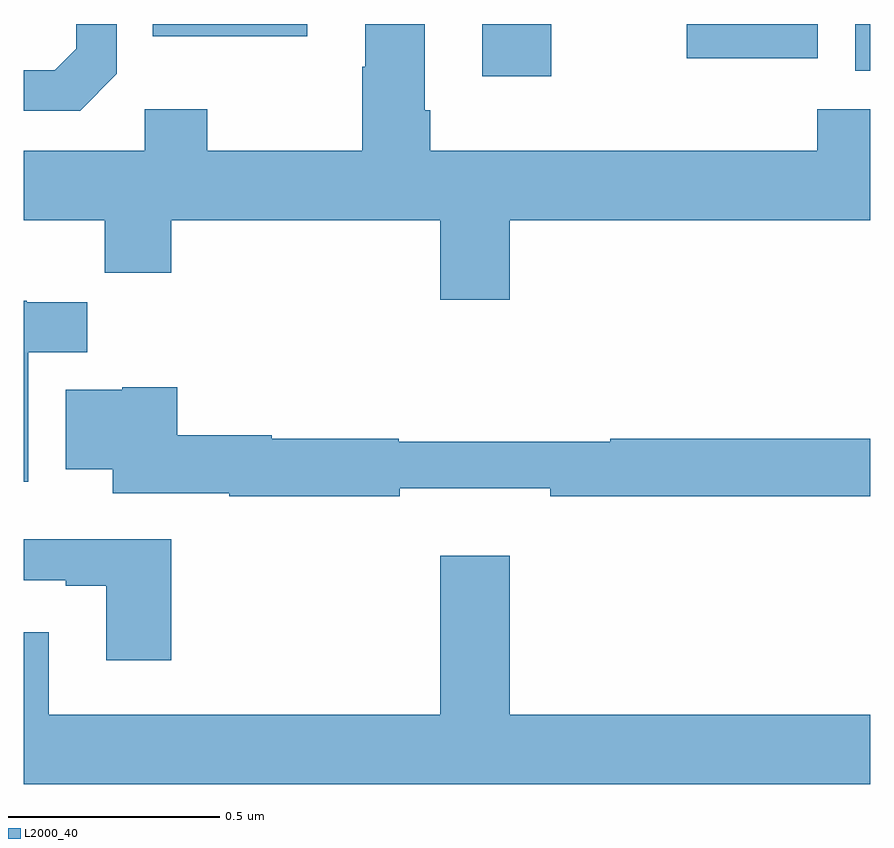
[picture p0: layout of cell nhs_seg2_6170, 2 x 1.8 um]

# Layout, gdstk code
import gdstk
lib = gdstk.Library(unit=1e-6, precision=1e-09)
def R(c, l, rs):  # rectangles x0, y0, x1, y1
    for r in rs: c.add(gdstk.rectangle(r[:2], r[2:], *l))
def P(c, l, *ps):  # polygons
    for p in ps: c.add(gdstk.Polygon(p, *l))
L2000_40 = (2000, 40)

nhs_seg2_6170 = lib.new_cell('nhs_seg2_6170')
R(nhs_seg2_6170, L2000_40, [(189.083,614.676,189.246,614.8), (189.965,614.69,190,614.8), (189.567,614.719,189.876,614.8), (188.305,614.771,188.67,614.8)])
P(nhs_seg2_6170, L2000_40, [(188.286,614.5),(188,614.5),(188,614.336),(188.191,614.336),(188.191,614.212),(188.348,614.212),(188.348,614.336),(188.984,614.336),(188.984,614.148),(189.148,614.148),(189.148,614.336),(190,614.336),(190,614.599),(189.875,614.599),(189.875,614.5),(188.96,614.5),(188.96,614.596),(188.947,614.596),(188.947,614.8),(188.807,614.8),(188.807,614.699),(188.8,614.699),(188.8,614.5),(188.433,614.5),(188.433,614.599),(188.286,614.599)],
  [(188.22,614.682),(188.22,614.8),(188.124,614.8),(188.124,614.742),(188.073,614.691),(188,614.691),(188,614.595),(188.133,614.595)],
  [(188.011,614.024),(188.15,614.024),(188.15,614.142),(188.007,614.142),(188.007,614.146),(188,614.146),(188,613.718),(188.011,613.718)],
  [(188.888,613.703),(189.244,613.703),(189.244,613.684),(190,613.684),(190,613.82),(189.386,613.82),(189.386,613.813),(188.886,613.813),(188.886,613.82),(188.586,613.82),(188.586,613.828),(188.363,613.828),(188.363,613.942),(188.232,613.942),(188.232,613.936),(188.099,613.936),(188.099,613.748),(188.21,613.748),(188.21,613.691),(188.486,613.691),(188.486,613.684),(188.888,613.684)],
  [(188.348,613.582),(188,613.582),(188,613.485),(188.099,613.485),(188.099,613.473),(188.195,613.473),(188.195,613.296),(188.348,613.296)],
  [(190,613.168),(189.148,613.168),(189.148,613.543),(188.984,613.543),(188.984,613.168),(188.059,613.168),(188.059,613.363),(188,613.363),(188,613.004),(190,613.004)])

lib.write_gds('nhs_seg2_6170.gds')
